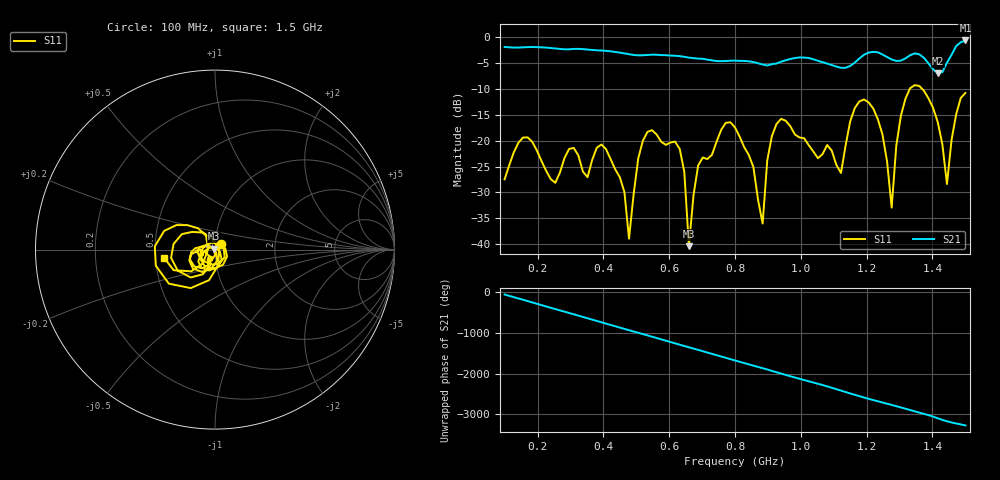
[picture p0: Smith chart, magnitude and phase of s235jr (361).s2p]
! NanoVNA-App
! Date: 2025-09-25 15:06:58
! Start: 100MHz Stop: 1,5GHz Points: 101
! S-Parameter data: F S11 S21 S12 S22
# Hz S RI R 50
!  Frequency  S11_Real  S11_Imag  S21_Real  S21_Imag  S12_Real  S12_Imag  S22_Real  S22_Imag
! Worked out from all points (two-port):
!   101 points, 100 MHz to 1.5 GHz, reference 50 ohm
!   highest |S21| = -0.72 dB at 1.5 GHz (marker M1); lowest = -7.0 dB at 1.416 GHz (marker M2)
!   |S21| within 3 dB of the highest: start of sweep to 627.7 MHz; 1.187 GHz to 1.257 GHz (69.47 MHz wide, 5.69 % of centre) (the widest 2 of 4)
!   lowest |S11| = -40.3 dB at 660 MHz (marker M3), VSWR 1.02, Z = 49.2 + j0.54 ohm
!   |S11| at or under -10 dB: start of sweep to 1.331 GHz; 1.368 GHz to end of sweep
!   S12 and S22 are empty: the file has one direction only
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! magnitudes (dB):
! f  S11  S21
! 100 MHz  -27.5  -2.0
! 156 MHz  -19.4  -2.0
! 338 MHz  -26.0  -2.4
! 408 MHz  -21.6  -2.7
! 478 MHz  -38.9  -3.4
! 520 MHz  -20.0  -3.6
! 576 MHz  -20.2  -3.5
! 632 MHz  -21.6  -3.7
! 660 MHz  -40.3  -4.0
! 688 MHz  -24.8  -4.2
! 800 MHz  -17.5  -4.6
! 884 MHz  -36.0  -5.3
! 926 MHz  -16.8  -5.2
! 1.038 GHz  -22.1  -4.3
! 1.122 GHz  -26.2  -6.0
! 1.206 GHz  -12.7  -3.1
! 1.276 GHz  -32.9  -4.4
! 1.304 GHz  -15.2  -4.6
! 1.332 GHz  -9.9  -3.6
! 1.416 GHz  -16.4  -7.0
! 1.444 GHz  -28.4  -5.0
! 1.5 GHz  -10.8  -0.7
